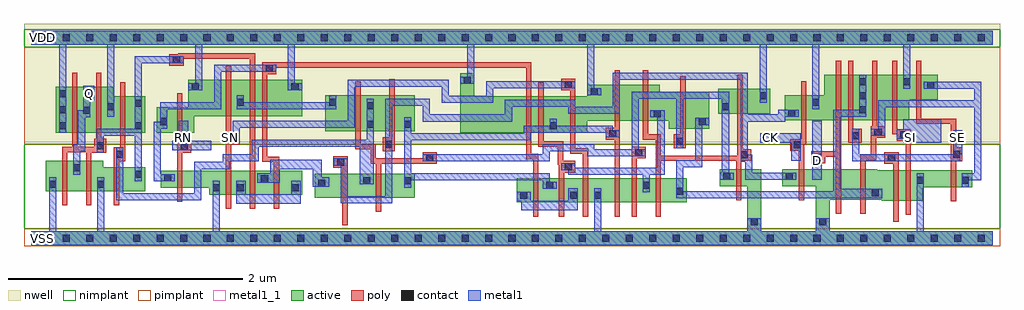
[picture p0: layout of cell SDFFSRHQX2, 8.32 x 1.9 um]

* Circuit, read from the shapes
.subckt SDFFSRHQX2 CK D Q RN SE SI SN VDD VSS
M1 Q n1 VSS VSS nfet w=0.26u l=0.045u m=2
M2 n1 n2 VSS VSS nfet w=0.205u l=0.045u
M3 VSS RN n3 VSS nfet w=0.145u l=0.045u
M4 n4 SN VSS VSS nfet w=0.205u l=0.045u
M5 n5 n1 n4 VSS nfet w=0.205u l=0.045u
M6 n4 n3 n5 VSS nfet w=0.205u l=0.045u
M7 n2 n6 n5 VSS nfet w=0.205u l=0.045u
M8 n7 n8 n2 VSS nfet w=0.205u l=0.045u
M9 n7 n3 n9 VSS nfet w=0.205u l=0.045u
M10 n9 n10 n7 VSS nfet w=0.205u l=0.045u
M11 VSS SN n9 VSS nfet w=0.205u l=0.045u
M12 n11 n7 VSS VSS nfet w=0.205u l=0.045u
M13 n10 n8 n11 VSS nfet w=0.205u l=0.045u
M14 n12 n6 n10 VSS nfet w=0.205u l=0.045u
M15 VSS n6 n8 VSS nfet w=0.145u l=0.045u
M16 VSS CK n6 VSS nfet w=0.145u l=0.045u
M17 n13 D VSS VSS nfet w=0.26u l=0.045u
M18 n12 n14 n13 VSS nfet w=0.26u l=0.045u
M19 n15 SE n12 VSS nfet w=0.26u l=0.045u
M20 VSS SI n15 VSS nfet w=0.26u l=0.045u
M21 n14 SE VSS VSS nfet w=0.145u l=0.045u
M22 Q n1 VDD VDD pfet w=0.39u l=0.045u m=2
M23 n1 n2 VDD VDD pfet w=0.31u l=0.045u
M24 VDD RN n3 VDD pfet w=0.215u l=0.045u
M25 n16 SN VDD VDD pfet w=0.31u l=0.045u
M26 n17 n1 n16 VDD pfet w=0.31u l=0.045u
M27 VDD n3 n17 VDD pfet w=0.31u l=0.045u
M28 n2 n8 n16 VDD pfet w=0.31u l=0.045u
M29 n7 n6 n2 VDD pfet w=0.31u l=0.045u
M30 n18 n3 VDD VDD pfet w=0.31u l=0.045u
M31 n7 n10 n18 VDD pfet w=0.31u l=0.045u
M32 VDD SN n7 VDD pfet w=0.31u l=0.045u
M33 n19 n7 VDD VDD pfet w=0.31u l=0.045u
M34 n10 n6 n19 VDD pfet w=0.31u l=0.045u
M35 n12 n8 n10 VDD pfet w=0.31u l=0.045u
M36 VDD n6 n8 VDD pfet w=0.215u l=0.045u
M37 VDD CK n6 VDD pfet w=0.215u l=0.045u
M38 n20 D VDD VDD pfet w=0.39u l=0.045u
M39 n12 SE n20 VDD pfet w=0.39u l=0.045u
M40 n21 n14 n12 VDD pfet w=0.39u l=0.045u
M41 VDD SI n21 VDD pfet w=0.39u l=0.045u
M42 n14 SE VDD VDD pfet w=0.215u l=0.045u
.ends

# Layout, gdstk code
import gdstk
lib = gdstk.Library(unit=1e-6, precision=5e-10)
def R(c, l, rs):  # rectangles x0, y0, x1, y1
    for r in rs: c.add(gdstk.rectangle(r[:2], r[2:], *l))
def A(c, l, x, y, w, h, nx, ny, dx, dy):  # array of equal rectangles
    R(c, l, [(x+i*dx, y+j*dy, x+i*dx+w, y+j*dy+h) for i in range(nx) for j in range(ny)])
def P(c, l, *ps):  # polygons
    for p in ps: c.add(gdstk.Polygon(p, *l))
active = (1, 0)
nwell = (2, 0)
poly = (3, 0)
nimplant = (4, 0)
pimplant = (5, 0)
contact = (6, 0)
metal1 = (7, 0)
metal1_1 = (7, 1)

sdffsrhqx2 = lib.new_cell('SDFFSRHQX2')
R(sdffsrhqx2, active, [(4.14,0.305,5.59,0.51), (2.42,0.345,3.27,0.55), (2.51,0.91,3.27,1.22), (5.86,1.06,6.3,1.275), (0,1.65,8.2,1.77)])
P(sdffsrhqx2, active, [(0.21,1.29),(0.7,1.29),(0.7,1.21),(0.975,1.21),(0.975,0.9),(0.21,0.9)],
  [(1.34,1.35),(2.31,1.35),(2.31,1.04),(1.39,1.04),(1.39,0.9),(1.07,0.9),(1.07,1.115),(1.34,1.115)],
  [(3.66,1.405),(3.78,1.405),(3.78,1.21),(4.74,1.21),(4.74,1.31),(5.36,1.31),(5.36,1.245),(5.78,1.245),(5.78,0.935),(5.435,0.935),(5.435,1),(4.74,1),(4.74,0.9),(3.66,0.9)],
  [(6.76,1.395),(7.73,1.395),(7.73,1.18),(7.485,1.18),(7.485,1.005),(6.425,1.005),(6.425,1.22),(6.76,1.22)],
  [(0.125,0.66),(0.615,0.66),(0.615,0.605),(0.975,0.605),(0.975,0.4),(0.125,0.4)],
  [(1.105,0.575),(2.31,0.575),(2.31,0.37),(1.52,0.37),(1.52,0.43),(1.105,0.43)],
  [(5.87,0.59),(6.225,0.59),(6.225,0.06),(6.69,0.06),(6.69,0.445),(6.405,0.445),(6.405,0.59),(7.215,0.59),(7.215,0.58),(8.025,0.58),(8.025,0.435),(7.6,0.435),(7.6,0.32),(7.25,0.32),(7.25,0.33),(6.81,0.33),(6.81,0.06),(8.2,0.06),(8.2,-0.06),(0,-0.06),(0,0.06),(6.105,0.06),(6.105,0.445),(5.87,0.445)])
R(sdffsrhqx2, nwell, [(-0.06,0.82,8.26,1.83)])
P(sdffsrhqx2, poly, [(0.35,1.41),(0.395,1.41),(0.395,0.78),(0.54,0.78),(0.54,0.85),(0.555,0.85),(0.555,1.41),(0.6,1.41),(0.6,0.85),(0.64,0.85),(0.64,0.73),(0.515,0.73),(0.515,0.28),(0.47,0.28),(0.47,0.735),(0.31,0.735),(0.31,0.28),(0.265,0.28),(0.265,0.78),(0.35,0.78)],
  [(1.255,1.575),(1.91,1.575),(1.91,0.25),(1.865,0.25),(1.865,1.53),(1.3,1.53),(1.3,1.47),(1.18,1.47),(1.18,1.57),(1.255,1.57)],
  [(1.97,1.5),(4.265,1.5),(4.265,0.72),(4.325,0.72),(4.325,0.185),(4.28,0.185),(4.28,0.675),(4.22,0.675),(4.22,1.455),(2.09,1.455),(2.09,1.4),(2.015,1.4),(2.015,0.695),(2.115,0.695),(2.115,0.25),(2.07,0.25),(2.07,0.65),(1.97,0.65)],
  [(0.76,1.33),(0.805,1.33),(0.805,0.655),(0.75,0.655),(0.75,0.28),(0.705,0.28),(0.705,0.775),(0.76,0.775)],
  [(1.66,1.47),(1.705,1.47),(1.705,0.895),(1.78,0.895),(1.78,0.795),(1.705,0.795),(1.705,0.25),(1.66,0.25)],
  [(4.52,1.36),(4.64,1.36),(4.64,0.765),(4.75,0.765),(4.75,0.185),(4.705,0.185),(4.705,0.72),(4.595,0.72),(4.595,1.26),(4.52,1.26)],
  [(1.245,1.235),(1.29,1.235),(1.29,0.83),(1.365,0.83),(1.365,0.73),(1.29,0.73),(1.29,0.31),(1.245,0.31)],
  [(2.765,1.34),(2.81,1.34),(2.81,0.805),(2.94,0.805),(2.94,0.68),(3.34,0.68),(3.34,0.735),(3.46,0.735),(3.46,0.635),(2.985,0.635),(2.985,0.225),(2.94,0.225),(2.94,0.635),(2.895,0.635),(2.895,0.76),(2.765,0.76)],
  [(3.055,1.355),(3.1,1.355),(3.1,0.74),(3,0.74),(3,0.86),(3.055,0.86)],
  [(4.325,1.33),(4.37,1.33),(4.37,0.825),(4.535,0.825),(4.535,0.66),(4.64,0.66),(4.64,0.56),(4.545,0.56),(4.545,0.185),(4.5,0.185),(4.5,0.625),(4.49,0.625),(4.49,0.78),(4.325,0.78)],
  [(4.975,1.43),(5.02,1.43),(5.02,0.185),(4.975,0.185),(4.975,0.84),(4.9,0.84),(4.9,0.94),(4.975,0.94)],
  [(5.215,1.43),(5.26,1.43),(5.26,0.885),(5.37,0.885),(5.37,0.705),(6.02,0.705),(6.02,1.395),(6.065,1.395),(6.065,0.76),(6.14,0.76),(6.14,0.66),(6.055,0.66),(6.055,0.325),(6.01,0.325),(6.01,0.66),(5.37,0.66),(5.37,0.185),(5.325,0.185),(5.325,0.84),(5.215,0.84)],
  [(6.86,1.515),(6.905,1.515),(6.905,0.21),(6.86,0.21),(6.86,0.695),(6.77,0.695),(6.77,0.64),(6.65,0.64),(6.65,0.74),(6.86,0.74)],
  [(6.965,1.515),(7.01,1.515),(7.01,0.935),(7.08,0.935),(7.08,0.815),(6.965,0.815)],
  [(7.17,1.515),(7.215,1.515),(7.215,0.955),(7.28,0.955),(7.28,0.855),(7.205,0.855),(7.205,0.665),(7.115,0.665),(7.115,0.21),(7.07,0.21),(7.07,0.71),(7.16,0.71),(7.16,0.955),(7.17,0.955)],
  [(7.34,1.515),(7.385,1.515),(7.385,0.93),(7.5,0.93),(7.5,0.2),(7.455,0.2),(7.455,0.83),(7.38,0.83),(7.38,0.885),(7.34,0.885)],
  [(5.535,1.38),(5.58,1.38),(5.58,0.765),(5.48,0.765),(5.48,0.885),(5.535,0.885)],
  [(6.565,1.34),(6.61,1.34),(6.61,0.8),(6.59,0.8),(6.59,0.325),(6.545,0.325),(6.545,0.745),(6.47,0.745),(6.47,0.845),(6.565,0.845)],
  [(7.545,1.515),(7.59,1.515),(7.59,1.02),(7.885,1.02),(7.885,0.775),(7.94,0.775),(7.94,0.655),(7.885,0.655),(7.885,0.315),(7.84,0.315),(7.84,0.975),(7.545,0.975)],
  [(2.575,0.7),(2.7,0.7),(2.7,0.11),(2.655,0.11),(2.655,0.6),(2.575,0.6)],
  [(5.12,0.78),(5.24,0.78),(5.24,0.68),(5.165,0.68),(5.165,0.185),(5.12,0.185)],
  [(7.275,0.735),(7.395,0.735),(7.395,0.14),(7.35,0.14),(7.35,0.635),(7.275,0.635)])
R(sdffsrhqx2, nimplant, [(-0.06,0.08,8.26,0.8), (-0.06,1.63,8.26,1.78)])
R(sdffsrhqx2, pimplant, [(-0.06,-0.07,8.26,0.08), (-0.06,0.8,8.26,1.63)])
A(sdffsrhqx2, contact, 0.07, -0.03, 0.06, 0.06, 41, 2, 0.2, 1.71)
A(sdffsrhqx2, contact, 0.24, 0.93, 0.06, 0.06, 1, 3, 0, 0.135)
A(sdffsrhqx2, contact, 7.06, 1.065, 0.06, 0.06, 1, 3, 0, 0.12)
R(sdffsrhqx2, contact, [(6.135,0.11,6.195,0.17), (6.72,0.11,6.78,0.17), (4.17,0.335,4.23,0.395), (4.595,0.335,4.655,0.395), (4.8,0.335,4.86,0.395), (7.165,0.36,7.225,0.42), (5.5,0.37,5.56,0.43), (1.55,0.4,1.61,0.46), (1.755,0.4,1.815,0.46), (2.22,0.4,2.28,0.46), (4.39,0.42,4.45,0.48), (5.215,0.42,5.275,0.48), (0.155,0.43,0.215,0.49), (0.565,0.43,0.625,0.49), (2.45,0.44,2.51,0.5), (2.83,0.46,2.89,0.52), (3.18,0.46,3.24,0.52), (7.55,0.465,7.61,0.525), (7.935,0.465,7.995,0.525), (1.96,0.475,2.02,0.535), (1.135,0.485,1.195,0.545), (5.9,0.5,5.96,0.56), (6.435,0.5,6.495,0.56), (0.885,0.515,0.945,0.575), (0.36,0.57,0.42,0.63), (4.55,0.58,4.61,0.64), (2.61,0.62,2.67,0.68), (3.37,0.655,3.43,0.715), (7.305,0.655,7.365,0.715), (6.68,0.66,6.74,0.72), (6.05,0.68,6.11,0.74), (0.725,0.685,0.785,0.745), (7.86,0.685,7.92,0.745), (5.15,0.7,5.21,0.76), (1.275,0.75,1.335,0.81), (0.56,0.76,0.62,0.82), (6.5,0.765,6.56,0.825), (3.02,0.77,3.08,0.83), (5.5,0.795,5.56,0.855), (1.69,0.815,1.75,0.875), (7,0.845,7.06,0.905), (7.41,0.85,7.47,0.91), (4.93,0.86,4.99,0.92), (7.19,0.875,7.25,0.935), (0.885,0.93,0.945,0.99), (4.42,0.93,4.48,0.99), (2.86,0.94,2.92,1), (3.18,0.94,3.24,1), (1.1,0.965,1.16,1.025), (5.69,0.965,5.75,1.025), (5.31,1.03,5.37,1.09), (6.455,1.035,6.515,1.095), (0.445,1.06,0.505,1.12), (0.65,1.09,0.71,1.15), (5.89,1.09,5.95,1.15), (2.86,1.1,2.92,1.16), (0.885,1.12,0.945,1.18), (1.755,1.13,1.815,1.19), (2.54,1.13,2.6,1.19), (6.66,1.13,6.72,1.19), (6.21,1.185,6.27,1.245), (0.445,1.2,0.505,1.26), (4.77,1.22,4.83,1.28), (1.37,1.26,1.43,1.32), (2.22,1.26,2.28,1.32), (7.64,1.275,7.7,1.335), (4.55,1.28,4.61,1.34), (7.435,1.305,7.495,1.365), (3.69,1.315,3.75,1.375), (2,1.42,2.06,1.48), (1.21,1.49,1.27,1.55)])
R(sdffsrhqx2, metal1, [(6.66,0.5,6.74,1)])
P(sdffsrhqx2, metal1, [(0,1.77),(8.2,1.77),(8.2,1.65),(7.495,1.65),(7.495,1.275),(7.435,1.275),(7.435,1.65),(6.72,1.65),(6.72,1.1),(6.66,1.1),(6.66,1.65),(6.27,1.65),(6.27,1.155),(6.21,1.155),(6.21,1.65),(4.8,1.65),(4.8,1.28),(4.86,1.28),(4.86,1.22),(4.74,1.22),(4.74,1.65),(3.78,1.65),(3.78,1.315),(3.66,1.315),(3.66,1.375),(3.72,1.375),(3.72,1.65),(2.25,1.65),(2.25,1.32),(2.31,1.32),(2.31,1.26),(2.19,1.26),(2.19,1.65),(1.46,1.65),(1.46,1.26),(1.34,1.26),(1.34,1.32),(1.4,1.32),(1.4,1.65),(0.71,1.65),(0.71,1.035),(0.65,1.035),(0.65,1.65),(0.3,1.65),(0.3,0.9),(0.24,0.9),(0.24,1.65),(0,1.65)],
  [(0.445,1.3),(0.54,1.3),(0.54,1.17),(0.505,1.17),(0.505,1.03),(0.46,1.03),(0.46,0.74),(0.42,0.74),(0.42,0.54),(0.36,0.54),(0.36,0.8),(0.4,0.8),(0.4,1.09),(0.445,1.09)],
  [(0.885,1.55),(1.3,1.55),(1.3,1.49),(0.945,1.49),(0.945,0.485),(0.885,0.485),(0.885,0.875),(0.62,0.875),(0.62,0.73),(0.56,0.73),(0.56,0.935),(0.885,0.935)],
  [(1.56,1.48),(2.09,1.48),(2.09,1.42),(1.62,1.42),(1.62,1.1),(1.16,1.1),(1.16,0.935),(1.105,0.935),(1.105,0.545),(1.225,0.545),(1.225,0.485),(1.045,0.485),(1.045,0.995),(1.1,0.995),(1.1,1.16),(1.56,1.16)],
  [(2.7,1.35),(3.56,1.35),(3.56,1.215),(3.88,1.215),(3.88,1.34),(4.64,1.34),(4.64,1.28),(3.94,1.28),(3.94,1.155),(3.5,1.155),(3.5,1.29),(2.76,1.29),(2.76,0.94),(1.78,0.94),(1.78,0.815),(1.635,0.815),(1.635,0.895),(1.72,0.895),(1.72,1),(2.7,1)],
  [(1.755,1.22),(1.815,1.22),(1.815,1.16),(2.54,1.16),(2.54,1.22),(2.6,1.22),(2.6,1.1),(1.755,1.1)],
  [(2.86,1.19),(2.92,1.19),(2.92,0.46),(2.8,0.46),(2.8,0.78),(1.94,0.78),(1.94,0.655),(1.695,0.655),(1.695,0.59),(1.45,0.59),(1.45,0.325),(0.725,0.325),(0.725,0.775),(0.785,0.775),(0.785,0.385),(1.39,0.385),(1.39,0.65),(1.635,0.65),(1.635,0.715),(1.88,0.715),(1.88,0.84),(2.86,0.84)],
  [(0.155,0.52),(0.215,0.52),(0.215,0.06),(0.565,0.06),(0.565,0.52),(0.625,0.52),(0.625,0.06),(1.55,0.06),(1.55,0.49),(1.61,0.49),(1.61,0.06),(4.8,0.06),(4.8,0.425),(4.86,0.425),(4.86,0.06),(6.105,0.06),(6.105,0.17),(6.225,0.17),(6.225,0.06),(6.69,0.06),(6.69,0.17),(6.81,0.17),(6.81,0.06),(7.55,0.06),(7.55,0.555),(7.61,0.555),(7.61,0.06),(8.2,0.06),(8.2,-0.06),(0,-0.06),(0,0.06),(0.155,0.06)],
  [(1.26,1),(1.34,1),(1.34,0.83),(1.535,0.83),(1.535,0.75),(1.205,0.75),(1.205,0.83),(1.26,0.83)],
  [(4.96,1.41),(6.11,1.41),(6.11,1.055),(6.37,1.055),(6.37,1.095),(6.545,1.095),(6.545,1.035),(6.43,1.035),(6.43,0.995),(6.11,0.995),(6.11,0.71),(6.15,0.71),(6.15,0.56),(6.525,0.56),(6.525,0.5),(6.09,0.5),(6.09,0.65),(6.05,0.65),(6.05,1.35),(5.02,1.35),(5.02,1.06),(4.58,1.06),(4.58,1.12),(4.1,1.12),(4.1,0.995),(3.34,0.995),(3.34,1.13),(3.08,1.13),(3.08,0.3),(2.64,0.3),(2.64,0.62),(2.58,0.62),(2.58,0.68),(2.7,0.68),(2.7,0.36),(3.02,0.36),(3.02,1.19),(3.4,1.19),(3.4,1.055),(4.04,1.055),(4.04,1.18),(4.64,1.18),(4.64,1.12),(4.96,1.12)],
  [(3.18,1.03),(3.24,1.03),(3.24,0.895),(4.2,0.895),(4.2,0.96),(4.42,0.96),(4.42,1.02),(4.48,1.02),(4.48,0.96),(4.96,0.96),(4.96,0.92),(5.02,0.92),(5.02,0.86),(4.9,0.86),(4.9,0.9),(4.26,0.9),(4.26,0.835),(3.24,0.835),(3.24,0.555),(4.42,0.555),(4.42,0.48),(4.48,0.48),(4.48,0.42),(4.36,0.42),(4.36,0.495),(3.24,0.495),(3.24,0.43),(3.18,0.43)],
  [(2.04,0.67),(2.48,0.67),(2.48,0.52),(2.54,0.52),(2.54,0.44),(2.4,0.44),(2.4,0.59),(2.12,0.59),(2.12,0.475),(1.93,0.475),(1.93,0.555),(2.04,0.555)],
  [(1.75,0.49),(1.83,0.49),(1.83,0.375),(2.22,0.375),(2.22,0.49),(2.3,0.49),(2.3,0.295),(1.75,0.295)],
  [(5.12,1.25),(5.95,1.25),(5.95,0.56),(5.99,0.56),(5.99,0.5),(5.87,0.5),(5.87,0.56),(5.89,0.56),(5.89,1.19),(5.56,1.19),(5.56,0.765),(5.5,0.765),(5.5,1.19),(5.18,1.19),(5.18,0.76),(5.24,0.76),(5.24,0.7),(4.74,0.7),(4.74,0.74),(4.42,0.74),(4.42,0.655),(3.34,0.655),(3.34,0.715),(4.36,0.715),(4.36,0.8),(4.8,0.8),(4.8,0.76),(5.12,0.76)],
  [(5.28,1.09),(5.4,1.09),(5.4,0.54),(5.275,0.54),(5.275,0.39),(5.215,0.39),(5.215,0.54),(4.58,0.54),(4.58,0.58),(4.52,0.58),(4.52,0.64),(4.64,0.64),(4.64,0.6),(5.34,0.6),(5.34,1.03),(5.28,1.03)],
  [(4.14,0.395),(4.26,0.395),(4.26,0.32),(4.58,0.32),(4.58,0.425),(4.66,0.425),(4.66,0.24),(4.18,0.24),(4.18,0.315),(4.14,0.315)],
  [(7.06,1.395),(7.12,1.395),(7.12,1.035),(6.9,1.035),(6.9,0.42),(7.255,0.42),(7.255,0.34),(5.5,0.34),(5.5,0.665),(5.66,0.665),(5.66,1.025),(5.78,1.025),(5.78,0.965),(5.72,0.965),(5.72,0.605),(5.56,0.605),(5.56,0.4),(6.84,0.4),(6.84,1.095),(7.06,1.095)],
  [(7.61,1.335),(8.1,1.335),(8.1,0.495),(7.995,0.495),(7.995,0.435),(7.935,0.435),(7.935,0.555),(8.04,0.555),(8.04,1.115),(7.28,1.115),(7.28,0.875),(7.16,0.875),(7.16,0.935),(7.22,0.935),(7.22,1.175),(8.04,1.175),(8.04,1.275),(7.61,1.275)],
  [(6.215,0.895),(6.56,0.895),(6.56,0.66),(6.48,0.66),(6.48,0.815),(6.215,0.815)],
  [(7,0.935),(7.06,0.935),(7.06,0.715),(7.86,0.715),(7.86,0.92),(7.94,0.92),(7.94,0.715),(7.92,0.715),(7.92,0.655),(7,0.655)],
  [(7.435,1.015),(7.76,1.015),(7.76,0.815),(7.435,0.815),(7.435,0.85),(7.38,0.85),(7.38,0.93),(7.435,0.93)])
R(sdffsrhqx2, metal1_1, [(0.06,-0.04,0.14,0.04), (6.66,0.625,6.74,0.705), (1.26,0.815,1.34,0.895), (1.66,0.815,1.74,0.895), (6.26,0.815,6.34,0.895), (7.46,0.815,7.54,0.895), (7.86,0.815,7.94,0.895), (0.46,1.195,0.54,1.275), (0.06,1.67,0.14,1.75)])
sdffsrhqx2.add(gdstk.Label('Q', (0.5,1.235), layer=7, texttype=1))
sdffsrhqx2.add(gdstk.Label('SE', (7.9,0.855), layer=7, texttype=1))
sdffsrhqx2.add(gdstk.Label('SI', (7.5,0.855), layer=7, texttype=1))
sdffsrhqx2.add(gdstk.Label('D', (6.7,0.665), layer=7, texttype=1))
sdffsrhqx2.add(gdstk.Label('CK', (6.3,0.855), layer=7, texttype=1))
sdffsrhqx2.add(gdstk.Label('SN', (1.7,0.855), layer=7, texttype=1))
sdffsrhqx2.add(gdstk.Label('RN', (1.3,0.855), layer=7, texttype=1))
sdffsrhqx2.add(gdstk.Label('VDD', (0.1,1.71), layer=7, texttype=1))
sdffsrhqx2.add(gdstk.Label('VSS', (0.1,0), layer=7, texttype=1))
sdffsrhqx2.add(gdstk.Label('SDFFSRHQX2', (0,0), layer=63, texttype=0))

lib.write_gds('SDFFSRHQX2.gds')
